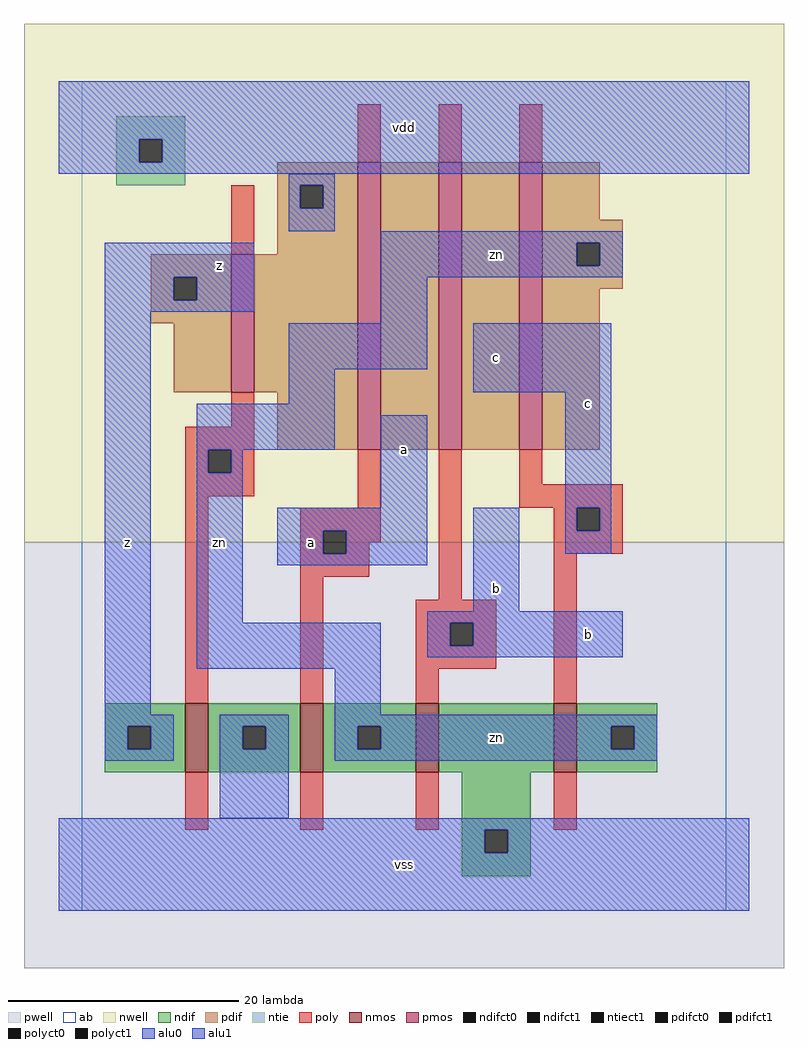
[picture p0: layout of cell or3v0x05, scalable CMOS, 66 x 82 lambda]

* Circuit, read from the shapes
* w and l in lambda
.subckt or3v0x05 a b c vdd vss z zn
M1 vss zn z VSUBS nfet w=6 l=2
M2 zn a vss VSUBS nfet w=6 l=2
M3 vss b zn VSUBS nfet w=6 l=2
M4 zn c vss VSUBS nfet w=6 l=2
M5 vdd zn z vdd pfet w=12 l=2
M6 n1 a vdd vdd pfet w=25 l=2
M7 n2 b n1 vdd pfet w=25 l=2
M8 zn c n2 vdd pfet w=25 l=2
.ends

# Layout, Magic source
magic
tech scmos
<< ab >>
rect 0 0 56 72
<< nwell >>
rect -5 32 61 77
<< pwell >>
rect -5 -5 61 32
<< poly >>
rect 24 65 26 70
rect 31 65 33 70
rect 38 65 40 70
rect 13 57 15 63
rect 13 42 15 45
rect 9 40 15 42
rect 9 38 11 40
rect 13 38 15 40
rect 9 36 15 38
rect 9 18 11 36
rect 24 35 26 40
rect 19 33 26 35
rect 19 31 21 33
rect 23 32 26 33
rect 23 31 25 32
rect 19 29 25 31
rect 19 18 21 29
rect 31 27 33 40
rect 38 37 40 40
rect 38 35 47 37
rect 41 33 43 35
rect 45 33 47 35
rect 41 31 47 33
rect 29 25 36 27
rect 29 23 32 25
rect 34 23 36 25
rect 29 21 36 23
rect 29 18 31 21
rect 41 18 43 31
rect 9 7 11 12
rect 19 7 21 12
rect 29 7 31 12
rect 41 7 43 12
<< ndif >>
rect 2 16 9 18
rect 2 14 4 16
rect 6 14 9 16
rect 2 12 9 14
rect 11 16 19 18
rect 11 14 14 16
rect 16 14 19 16
rect 11 12 19 14
rect 21 16 29 18
rect 21 14 24 16
rect 26 14 29 16
rect 21 12 29 14
rect 31 12 41 18
rect 43 16 50 18
rect 43 14 46 16
rect 48 14 50 16
rect 43 12 50 14
rect 33 7 39 12
rect 33 5 35 7
rect 37 5 39 7
rect 33 3 39 5
<< pdif >>
rect 17 63 24 65
rect 17 61 19 63
rect 21 61 24 63
rect 17 57 24 61
rect 6 55 13 57
rect 6 53 8 55
rect 10 53 13 55
rect 6 51 13 53
rect 8 45 13 51
rect 15 45 24 57
rect 17 40 24 45
rect 26 40 31 65
rect 33 40 38 65
rect 40 60 45 65
rect 40 58 47 60
rect 40 56 43 58
rect 45 56 47 58
rect 40 54 47 56
rect 40 40 45 54
<< alu1 >>
rect -2 67 58 72
rect -2 65 5 67
rect 7 65 58 67
rect -2 64 58 65
rect 2 55 15 58
rect 2 53 8 55
rect 10 53 15 55
rect 2 52 15 53
rect 2 17 6 52
rect 34 45 46 51
rect 26 35 30 43
rect 42 35 46 45
rect 17 33 30 35
rect 17 31 21 33
rect 23 31 30 33
rect 17 30 30 31
rect 34 26 38 35
rect 42 33 43 35
rect 45 33 46 35
rect 42 31 46 33
rect 30 25 47 26
rect 30 23 32 25
rect 34 23 47 25
rect 30 22 47 23
rect 2 16 8 17
rect 2 14 4 16
rect 6 14 8 16
rect 2 13 8 14
rect -2 7 58 8
rect -2 5 35 7
rect 37 5 58 7
rect -2 0 58 5
<< ntie >>
rect 3 67 9 69
rect 3 65 5 67
rect 7 65 9 67
rect 3 63 9 65
<< nmos >>
rect 9 12 11 18
rect 19 12 21 18
rect 29 12 31 18
rect 41 12 43 18
<< pmos >>
rect 13 45 15 57
rect 24 40 26 65
rect 31 40 33 65
rect 38 40 40 65
<< polyct0 >>
rect 11 38 13 40
<< polyct1 >>
rect 21 31 23 33
rect 43 33 45 35
rect 32 23 34 25
<< ndifct0 >>
rect 14 14 16 16
rect 24 14 26 16
rect 46 14 48 16
<< ndifct1 >>
rect 4 14 6 16
rect 35 5 37 7
<< ntiect1 >>
rect 5 65 7 67
<< pdifct0 >>
rect 19 61 21 63
rect 43 56 45 58
<< pdifct1 >>
rect 8 53 10 55
<< alu0 >>
rect 18 63 22 64
rect 18 61 19 63
rect 21 61 22 63
rect 18 59 22 61
rect 26 58 47 59
rect 26 56 43 58
rect 45 56 47 58
rect 26 55 47 56
rect 26 51 30 55
rect 18 47 30 51
rect 18 44 22 47
rect 10 40 22 44
rect 10 38 11 40
rect 13 38 14 40
rect 10 25 14 38
rect 10 21 26 25
rect 22 17 26 21
rect 12 16 18 17
rect 12 14 14 16
rect 16 14 18 16
rect 12 8 18 14
rect 22 16 50 17
rect 22 14 24 16
rect 26 14 46 16
rect 48 14 50 16
rect 22 13 50 14
<< labels >>
rlabel alu0 12 32 12 32 6 zn
rlabel alu0 36 15 36 15 6 zn
rlabel alu0 36 57 36 57 6 zn
rlabel alu1 4 32 4 32 6 z
rlabel alu1 20 32 20 32 6 a
rlabel alu1 12 56 12 56 6 z
rlabel alu1 28 4 28 4 6 vss
rlabel alu1 36 28 36 28 6 b
rlabel alu1 28 40 28 40 6 a
rlabel alu1 36 48 36 48 6 c
rlabel alu1 28 68 28 68 6 vdd
rlabel alu1 44 24 44 24 6 b
rlabel alu1 44 44 44 44 6 c
<< end >>
